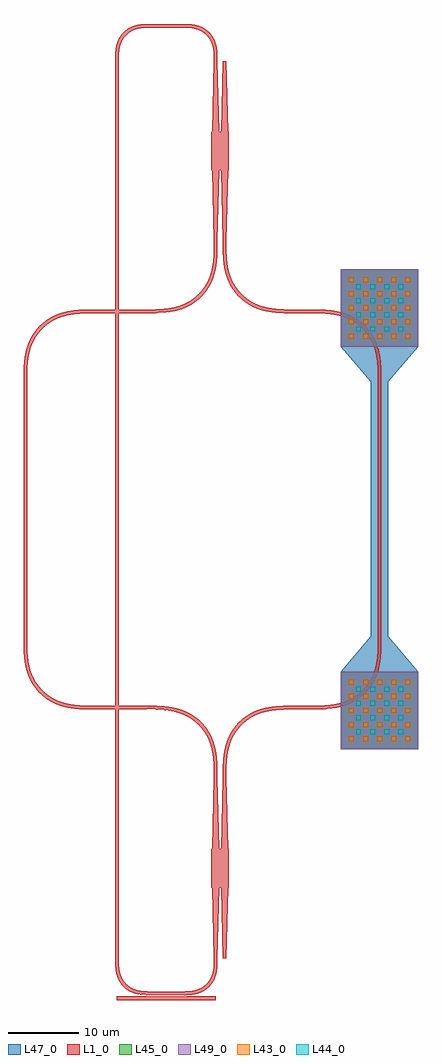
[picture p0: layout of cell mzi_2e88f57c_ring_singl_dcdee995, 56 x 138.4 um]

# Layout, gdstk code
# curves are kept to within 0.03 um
from math import pi, radians
import gdstk
lib = gdstk.Library(unit=1e-6, precision=1e-09)
def R(c, l, rs):  # rectangles x0, y0, x1, y1
    for r in rs: c.add(gdstk.rectangle(r[:2], r[2:], *l))
def P(c, l, *ps):  # polygons
    for p in ps: c.add(gdstk.Polygon(p, *l))
L1_0 = (1, 0)
L43_0 = (43, 0)
L44_0 = (44, 0)
L45_0 = (45, 0)
L47_0 = (47, 0)
L49_0 = (49, 0)

bend_euler_7cc95356 = lib.new_cell('bend_euler_7cc95356')
P(bend_euler_7cc95356, L1_0, [(0,-0.25),(1.398,-0.205),(2.357,-0.033),(2.826,0.128),(3.255,0.338),(3.674,0.616),(4.017,0.912),(4.611,1.658),(4.991,2.501),(5.205,3.602),(5.25,5),(4.75,5),(4.719,3.785),(4.557,2.798),(4.228,1.993),(3.73,1.332),(3.045,0.794),(2.307,0.473),(1.372,0.295),(0,0.25)])

straight_b3dac65b = lib.new_cell('straight_b3dac65b')
R(straight_b3dac65b, L1_0, [(0,-0.25,5,0.25)])

coupler90_7cc95356 = lib.new_cell('coupler90_7cc95356')
coupler90_7cc95356.add(gdstk.Reference(bend_euler_7cc95356, (0,0.7)))
coupler90_7cc95356.add(gdstk.Reference(straight_b3dac65b, (0,0)))

straight_defbc978 = lib.new_cell('straight_defbc978')
R(straight_defbc978, L1_0, [(0,-0.25,4,0.25)])

coupler_straight_2be9e08 = lib.new_cell('coupler_straight_2be9e088')
coupler_straight_2be9e08.add(gdstk.Reference(straight_defbc978, (0,0.7)))
coupler_straight_2be9e08.add(gdstk.Reference(straight_defbc978, (0,0)))

coupler_ring = lib.new_cell('coupler_ring')
coupler_ring.add(gdstk.Reference(coupler90_7cc95356, (-4,0), rotation=pi, x_reflection=True))
coupler_ring.add(gdstk.Reference(coupler90_7cc95356, (0,0)))
coupler_ring.add(gdstk.Reference(coupler_straight_2be9e08, (-4,0)))

straight_af32a57e = lib.new_cell('straight_af32a57e')
R(straight_af32a57e, L1_0, [(0,-0.25,127.2,0.25)])

mmi2x2 = lib.new_cell('mmi2x2')
R(mmi2x2, L1_0, [(0,-1.25,5.5,1.25)])
P(mmi2x2, L1_0, [(-10,-0.375),(0,-0.125),(0,-1.125),(-10,-0.875)],
  [(-10,0.875),(0,1.125),(0,0.125),(-10,0.375)],
  [(15.5,0.375),(5.5,0.125),(5.5,1.125),(15.5,0.875)],
  [(15.5,-0.875),(5.5,-1.125),(5.5,-0.125),(15.5,-0.375)])

bend_euler_9e0718a0 = lib.new_cell('bend_euler_9e0718a0')
P(bend_euler_9e0718a0, L1_0, [(0,-0.25),(1.498,-0.236),(2.724,-0.165),(3.761,-0.026),(4.739,0.201),(5.691,0.544),(6.428,0.918),(7.158,1.402),(7.859,2.003),(8.479,2.689),(9.033,3.488),(9.456,4.309),(9.799,5.261),(10.026,6.239),(10.165,7.276),(10.236,8.502),(10.25,10),(9.75,10),(9.727,8.239),(9.634,7.004),(9.463,5.971),(9.18,4.971),(8.884,4.263),(8.508,3.59),(8.088,3),(7.575,2.425),(7,1.912),(6.41,1.492),(5.737,1.116),(5.029,0.82),(4.029,0.537),(2.996,0.366),(1.761,0.273),(0,0.25)])

straight_a4be237b = lib.new_cell('straight_a4be237b')
R(straight_a4be237b, L1_0, [(0,-0.25,7,0.25)])

straight_6870e926 = lib.new_cell('straight_6870e926')
R(straight_6870e926, L1_0, [(0,-0.25,0.1,0.25)])

straight_fba69bc3 = lib.new_cell('straight_fba69bc3')
R(straight_fba69bc3, L1_0, [(0,-0.25,2,0.25)])

straight_1aa74c1c = lib.new_cell('straight_1aa74c1c')
R(straight_1aa74c1c, L1_0, [(0,-0.25,18.05,0.25)])
R(straight_1aa74c1c, L47_0, [(0,-1.25,18.05,1.25)])

component_sequence_45111 = lib.new_cell('component_sequence_45111566')
component_sequence_45111.add(gdstk.Reference(straight_1aa74c1c, (0,0)))
component_sequence_45111.add(gdstk.Reference(straight_1aa74c1c, (18.05,0)))

compass_8277d85c = lib.new_cell('compass_8277d85c')
R(compass_8277d85c, L47_0, [(-5.5,-5.5,5.5,5.5)])

compass_6419de30 = lib.new_cell('compass_6419de30')
R(compass_6419de30, L45_0, [(-5.5,-5.5,5.5,5.5)])

compass_0253aeff = lib.new_cell('compass_0253aeff')
R(compass_0253aeff, L49_0, [(-5.5,-5.5,5.5,5.5)])

via_ebd8e362 = lib.new_cell('via_ebd8e362')
R(via_ebd8e362, L44_0, [(-0.35,-0.35,0.35,0.35)])

via_fd13653e = lib.new_cell('via_fd13653e')
R(via_fd13653e, L43_0, [(-0.35,-0.35,0.35,0.35)])

via_stack_02e7e014 = lib.new_cell('via_stack_02e7e014')
via_stack_02e7e014.add(gdstk.Reference(compass_8277d85c, (0,0)))
via_stack_02e7e014.add(gdstk.Reference(compass_6419de30, (0,0)))
via_stack_02e7e014.add(gdstk.Reference(compass_0253aeff, (0,0)))
r = gdstk.Reference(via_ebd8e362, (-3,-3)); r.repetition = gdstk.Repetition(4, 4, v1=(2,0), v2=(0,2)); via_stack_02e7e014.add(r)
r = gdstk.Reference(via_fd13653e, (-4,-4)); r.repetition = gdstk.Repetition(5, 5, v1=(2,0), v2=(0,2)); via_stack_02e7e014.add(r)

taper_13d39a01 = lib.new_cell('taper_13d39a01')
P(taper_13d39a01, L47_0, [(0,5.5),(5,1.25),(5,-1.25),(0,-5.5)])

straight_heater_metal_u_ = lib.new_cell('straight_heater_metal_u_f37dff5c')
straight_heater_metal_u_.add(gdstk.Reference(component_sequence_45111, (0,0)))
straight_heater_metal_u_.add(gdstk.Reference(via_stack_02e7e014, (-10.5,0)))
straight_heater_metal_u_.add(gdstk.Reference(via_stack_02e7e014, (46.6,0)))
straight_heater_metal_u_.add(gdstk.Reference(taper_13d39a01, (-5,0)))
straight_heater_metal_u_.add(gdstk.Reference(taper_13d39a01, (41.1,0), rotation=pi))

straight_fa3a3f2f = lib.new_cell('straight_fa3a3f2f')
R(straight_fa3a3f2f, L1_0, [(0,-0.25,0.09,0.25)])

straight_c804d8bd = lib.new_cell('straight_c804d8bd')
R(straight_c804d8bd, L1_0, [(0,-0.25,2,0.25)])

straight_4ae164bc = lib.new_cell('straight_4ae164bc')
R(straight_4ae164bc, L1_0, [(0,-0.25,0.01,0.25)])

straight_d494dd99 = lib.new_cell('straight_d494dd99')
R(straight_d494dd99, L1_0, [(0,-0.25,36.09,0.25)])

straight_32d14105 = lib.new_cell('straight_32d14105')
R(straight_32d14105, L1_0, [(0,-0.25,7,0.25)])

mzi_2e88f57c = lib.new_cell('mzi_2e88f57c')
mzi_2e88f57c.add(gdstk.Reference(mmi2x2, (0,0)))
mzi_2e88f57c.add(gdstk.Reference(mmi2x2, (107.2,0), rotation=pi, x_reflection=True))
mzi_2e88f57c.add(gdstk.Reference(bend_euler_9e0718a0, (15.5,-0.625), x_reflection=True))
mzi_2e88f57c.add(gdstk.Reference(straight_a4be237b, (25.5,-10.625), rotation=3*pi/2))
mzi_2e88f57c.add(gdstk.Reference(bend_euler_9e0718a0, (25.5,-17.625), rotation=3*pi/2))
mzi_2e88f57c.add(gdstk.Reference(straight_6870e926, (35.5,-27.625)))
mzi_2e88f57c.add(gdstk.Reference(bend_euler_9e0718a0, (15.5,0.625)))
mzi_2e88f57c.add(gdstk.Reference(straight_fba69bc3, (25.5,10.625), rotation=pi/2))
mzi_2e88f57c.add(gdstk.Reference(bend_euler_9e0718a0, (35.5,22.625), rotation=pi))
mzi_2e88f57c.add(gdstk.Reference(straight_heater_metal_u_, (35.5,22.625)))
mzi_2e88f57c.add(gdstk.Reference(bend_euler_9e0718a0, (71.69,22.625), x_reflection=True))
mzi_2e88f57c.add(gdstk.Reference(bend_euler_9e0718a0, (81.69,10.625), rotation=3*pi/2))
mzi_2e88f57c.add(gdstk.Reference(straight_fa3a3f2f, (71.6,22.625)))
mzi_2e88f57c.add(gdstk.Reference(straight_c804d8bd, (81.69,12.625), rotation=3*pi/2))
mzi_2e88f57c.add(gdstk.Reference(straight_4ae164bc, (91.69,0.625)))
mzi_2e88f57c.add(gdstk.Reference(bend_euler_9e0718a0, (71.69,-27.625)))
mzi_2e88f57c.add(gdstk.Reference(bend_euler_9e0718a0, (81.69,-10.625), rotation=pi/2, x_reflection=True))
mzi_2e88f57c.add(gdstk.Reference(straight_d494dd99, (35.6,-27.625)))
mzi_2e88f57c.add(gdstk.Reference(straight_32d14105, (81.69,-17.625), rotation=pi/2))
mzi_2e88f57c.add(gdstk.Reference(straight_4ae164bc, (91.69,-0.625)))

bend_euler_212e6ad7 = lib.new_cell('bend_euler_212e6ad7')
P(bend_euler_212e6ad7, L1_0, [(0,-0.25),(1.398,-0.205),(2.357,-0.033),(2.826,0.128),(3.255,0.338),(3.674,0.616),(4.017,0.912),(4.611,1.658),(4.991,2.501),(5.205,3.602),(5.25,5),(4.75,5),(4.719,3.785),(4.557,2.798),(4.228,1.993),(3.73,1.332),(3.045,0.794),(2.307,0.473),(1.372,0.295),(0,0.25)])

mzi_2e88f57c_ring_singl_ = lib.new_cell('mzi_2e88f57c_ring_singl_dcdee995')
mzi_2e88f57c_ring_singl_.add(gdstk.Reference(coupler_ring, (0,0)))
mzi_2e88f57c_ring_singl_.add(gdstk.Reference(straight_af32a57e, (-9,132.9), rotation=3*pi/2))
mzi_2e88f57c_ring_singl_.add(gdstk.Reference(mzi_2e88f57c, (5.625,122.9), rotation=3*pi/2))
mzi_2e88f57c_ring_singl_.add(gdstk.Reference(bend_euler_212e6ad7, (-4,137.9), rotation=pi))
mzi_2e88f57c_ring_singl_.add(gdstk.Reference(bend_euler_212e6ad7, (5,132.9), rotation=pi/2))
mzi_2e88f57c_ring_singl_.add(gdstk.Reference(straight_defbc978, (-4,137.9)))

lib.write_gds('mzi_2e88f57c_ring_singl_dcdee995.gds')
